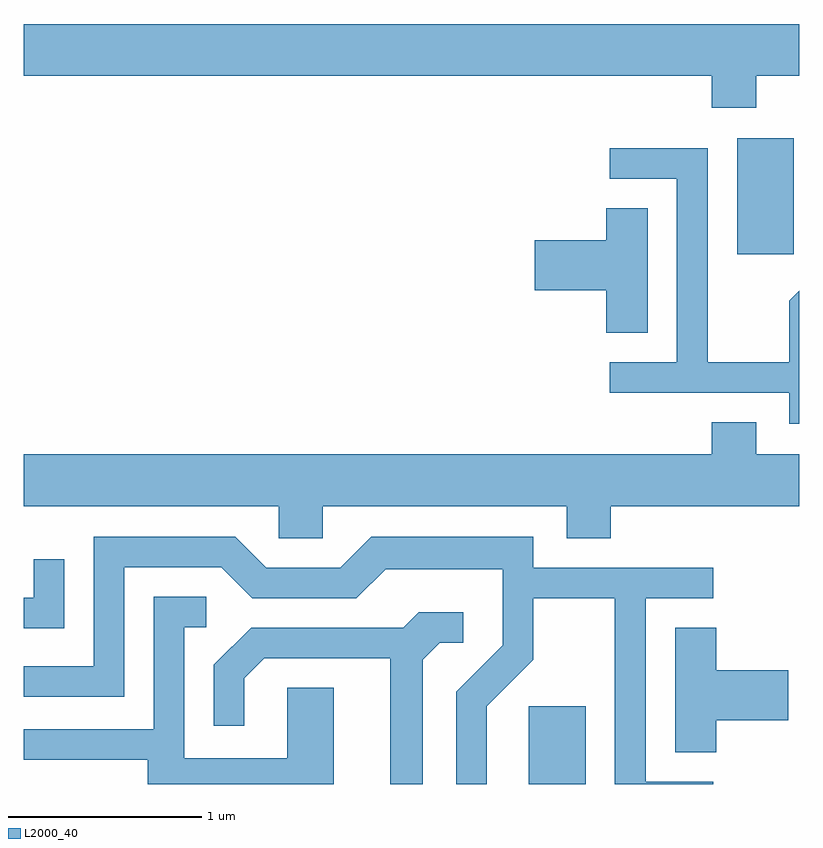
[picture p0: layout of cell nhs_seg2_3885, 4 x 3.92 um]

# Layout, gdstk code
import gdstk
lib = gdstk.Library(unit=1e-6, precision=1e-09)
def R(c, l, rs):  # rectangles x0, y0, x1, y1
    for r in rs: c.add(gdstk.rectangle(r[:2], r[2:], *l))
def P(c, l, *ps):  # polygons
    for p in ps: c.add(gdstk.Polygon(p, *l))
L2000_40 = (2000, 40)

nhs_seg2_3885 = lib.new_cell('nhs_seg2_3885')
R(nhs_seg2_3885, L2000_40, [(302.216,1015.802,302.509,1016.204), (303.291,1018.536,303.584,1019.134)])
P(nhs_seg2_3885, L2000_40, [(303.389,1019.456),(303.611,1019.456),(303.611,1019.724),(299.611,1019.724),(299.611,1019.456),(303.161,1019.456),(303.161,1019.291),(303.389,1019.291)],
  [(303.611,1018.347),(303.561,1018.297),(303.561,1017.979),(303.139,1017.979),(303.139,1019.084),(302.633,1019.084),(302.633,1018.926),(302.981,1018.926),(302.981,1017.979),(302.633,1017.979),(302.633,1017.821),(303.561,1017.821),(303.561,1017.661),(303.611,1017.661)],
  [(302.829,1018.774),(302.616,1018.774),(302.616,1018.609),(302.246,1018.609),(302.246,1018.351),(302.616,1018.351),(302.616,1018.131),(302.829,1018.131)],
  [(301.154,1017.236),(302.411,1017.236),(302.411,1017.071),(302.639,1017.071),(302.639,1017.236),(303.611,1017.236),(303.611,1017.504),(303.389,1017.504),(303.389,1017.669),(303.161,1017.669),(303.161,1017.504),(299.611,1017.504),(299.611,1017.236),(300.926,1017.236),(300.926,1017.071),(301.154,1017.071)],
  [(301.999,1016.204),(302.239,1016.444),(302.239,1016.761),(302.661,1016.761),(302.661,1015.802),(303.168,1015.802),(303.168,1015.814),(302.819,1015.814),(302.819,1016.761),(303.168,1016.761),(303.168,1016.919),(302.239,1016.919),(302.239,1017.079),(301.404,1017.079),(301.244,1016.919),(300.862,1016.919),(300.702,1017.079),(299.971,1017.079),(299.971,1016.409),(299.611,1016.409),(299.611,1016.251),(300.129,1016.251),(300.129,1016.921),(300.629,1016.921),(300.789,1016.761),(301.327,1016.761),(301.477,1016.911),(302.081,1016.911),(302.081,1016.517),(301.841,1016.277),(301.841,1015.802),(301.999,1015.802)],
  [(299.819,1016.963),(299.661,1016.963),(299.661,1016.764),(299.611,1016.764),(299.611,1016.606),(299.819,1016.606)],
  [(301.209,1016.299),(300.971,1016.299),(300.971,1015.934),(300.439,1015.934),(300.439,1016.611),(300.553,1016.611),(300.553,1016.769),(300.281,1016.769),(300.281,1016.084),(299.611,1016.084),(299.611,1015.926),(300.251,1015.926),(300.251,1015.802),(301.209,1015.802)],
  [(301.669,1016.444),(301.757,1016.531),(301.878,1016.531),(301.878,1016.689),(301.649,1016.689),(301.569,1016.609),(300.784,1016.609),(300.591,1016.417),(300.591,1016.103),(300.749,1016.103),(300.749,1016.349),(300.852,1016.451),(301.501,1016.451),(301.501,1015.802),(301.669,1015.802)],
  [(303.184,1016.131),(303.554,1016.131),(303.554,1016.389),(303.184,1016.389),(303.184,1016.609),(302.971,1016.609),(302.971,1015.966),(303.184,1015.966)])

lib.write_gds('nhs_seg2_3885.gds')
